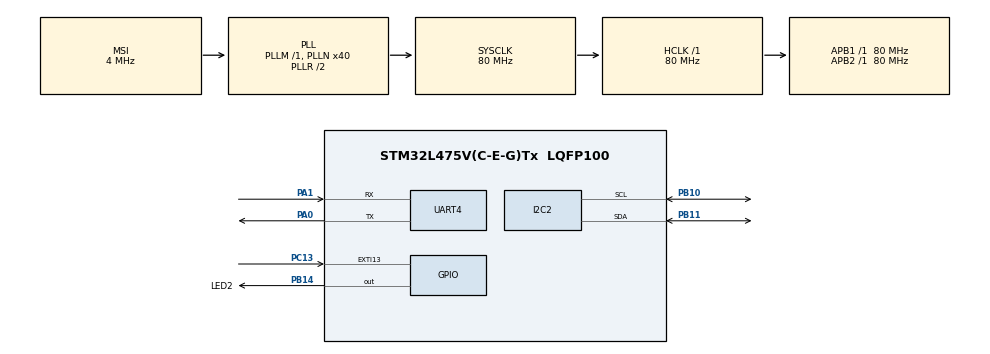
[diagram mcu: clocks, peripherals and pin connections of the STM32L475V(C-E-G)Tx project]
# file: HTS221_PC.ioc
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I2C2.Timing=0x10909CEC
Mcu.Family=STM32L4
Mcu.Name=STM32L475V(C-E-G)Tx
Mcu.Package=LQFP100
NVIC.EXTI15_10_IRQn=true\:0\:0\:false\:false\:true\:true\:true
NVIC.PriorityGroup=NVIC_PRIORITYGROUP_4
NVIC.UART4_IRQn=true\:0\:0\:false\:false\:true\:true\:true
PA0.Mode=Asynchronous
PA0.Signal=UART4_TX
PA1.Mode=Asynchronous
PA1.Signal=UART4_RX
PA13\ (JTMS-SWDIO).Mode=Serial_Wire
PA13\ (JTMS-SWDIO).Signal=SYS_JTMS-SWDIO
PA14\ (JTCK-SWCLK).Mode=Serial_Wire
PA14\ (JTCK-SWCLK).Signal=SYS_JTCK-SWCLK
PB10.Mode=I2C
PB10.Signal=I2C2_SCL
PB11.Mode=I2C
PB11.Signal=I2C2_SDA
PB14.GPIO_Label=LED2
PB14.Signal=GPIO_Output
PC13.Signal=GPXTI13
PC14-OSC32_IN\ (PC14).Mode=LSE-External-Oscillator
PC14-OSC32_IN\ (PC14).Signal=RCC_OSC32_IN
PC15-OSC32_OUT\ (PC15).Mode=LSE-External-Oscillator
PC15-OSC32_OUT\ (PC15).Signal=RCC_OSC32_OUT
ProjectManager.HeapSize=0x200
ProjectManager.StackSize=0x400
ProjectManager.TargetToolchain=STM32CubeIDE
RCC.ADCFreq_Value=48000000
RCC.AHBFreq_Value=80000000
RCC.APB1Freq_Value=80000000
RCC.APB1TimFreq_Value=80000000
RCC.APB2Freq_Value=80000000
RCC.APB2TimFreq_Value=80000000
RCC.CortexFreq_Value=80000000
RCC.HCLKFreq_Value=80000000
RCC.HSE_VALUE=8000000
RCC.HSI_VALUE=16000000
RCC.MSI_VALUE=4000000
RCC.PLLN=40
RCC.PLLSAI1N=24
RCC.SYSCLKFreq_VALUE=80000000
RCC.SYSCLKSource=RCC_SYSCLKSOURCE_PLLCLK
RCC.USBFreq_Value=48000000
RCC.VCOOutputFreq_Value=160000000
VP_RTC_VS_RTC_Activate.Mode=RTC_Enabled
board=B-L475E-IOT01A1

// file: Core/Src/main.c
/* USER CODE BEGIN Header */
/**
  ******************************************************************************
  * @file           : main.c
  * @brief          : Main program body
  ******************************************************************************
  * @attention
  *
  * Copyright (c) 2022 STMicroelectronics.
  * All rights reserved.
  *
  * This software is licensed under terms that can be found in the LICENSE file
  * in the root directory of this software component.
  * If no LICENSE file comes with this software, it is provided AS-IS.
  *
  ******************************************************************************
  */
/* USER CODE END Header */
#include "main.h"

/* USER CODE BEGIN Includes */
#include "HTS221.h"
#include "stdio.h"
#include "string.h"
#include "lcd1602_i2c_lib.h"
#include "modbus.h"
#include "modbus_slave.h"
#include "modbus_slave_0x10.h"
#include "modbus_slave_0x03.h"
#include "modbus_slave_map.h"
#include "usart0.h"

/* USER CODE END Includes */

/* USER CODE BEGIN PTD */
hts221_t HTS221;
/* USER CODE END PTD */

I2C_HandleTypeDef hi2c2;

RTC_HandleTypeDef hrtc;

/* USER CODE BEGIN PV */
extern volatile bool usart0_modbus_timeout;
int16_t temp;
uint16_t humidity;
uint8_t flag_HTS221 = 0;
uint8_t flag_rxTerminal = 0;
char txBuffer [50] = {0};
char rxBuffer [1] = {0};
/* USER CODE END PV */

void SystemClock_Config(void);
static void MX_GPIO_Init(void);
static void MX_I2C2_Init(void);
static void MX_RTC_Init(void);
static void MX_UART4_Init(void);

int main(void)
{

  /* MCU Configuration--------------------------------------------------------*/

  /* Reset of all peripherals, Initializes the Flash interface and the Systick. */
  HAL_Init();

  /* Configure the system clock */
  SystemClock_Config();

  /* Initialize all configured peripherals */
  MX_GPIO_Init();
  MX_I2C2_Init();
  MX_RTC_Init();
  MX_UART4_Init();
  /* USER CODE BEGIN 2 */
  HTS221_Init(&HTS221, &hi2c2, DEV_ADDR);
  HTS221_DRDY_Enable(&HTS221, OPEN_DRAIN, ACTIVE_LOW);
  HTS221_set_output_data_rate(&HTS221, Hz_1);
 // HTS221_get_data_OneHot(&HTS221, &temp, &humidity);
  HAL_UART_Receive_IT(&huart4, (uint8_t*)rxBuffer, 1);
  /* USER CODE END 2 */

  /* Infinite loop */
  /* USER CODE BEGIN WHILE */
  while (1)
  {

	  if(flag_HTS221 == 1)
	   {
		  HTS221_get_data(&HTS221, &temp, &humidity);
          sprintf(txBuffer, "Temperature: %d C\n Humidity: %d\%%\n", temp, humidity);
		  HAL_UART_Transmit(&huart4, (uint8_t*)txBuffer, strlen(txBuffer), 1000);
		  flag_HTS221 = 0;
	   }
	  if(flag_rxTerminal == 1)
	  {
		  HAL_GPIO_TogglePin(LED2_GPIO_Port, LED2_Pin);
		  HTS221_get_data(&HTS221, &temp, &humidity);
		  sprintf(txBuffer, "Temperature: %d C\n Humidity: %d\%%\n", temp, humidity);
		  HAL_UART_Transmit(&huart4, (uint8_t*)txBuffer, strlen(txBuffer), 1000);
		  flag_rxTerminal = 0;
		  HAL_UART_Receive_IT(&huart4, (uint8_t*)rxBuffer, 1);
	  }
    /* USER CODE END WHILE */

  }
}

void SystemClock_Config(void)
{
  RCC_OscInitTypeDef RCC_OscInitStruct = {0};
  RCC_ClkInitTypeDef RCC_ClkInitStruct = {0};

  /** Configure the main internal regulator output voltage
  */
  if (HAL_PWREx_ControlVoltageScaling(PWR_REGULATOR_VOLTAGE_SCALE1) != HAL_OK)
  {
    Error_Handler();
  }
  /** Configure LSE Drive Capability
  */
  HAL_PWR_EnableBkUpAccess();
  __HAL_RCC_LSEDRIVE_CONFIG(RCC_LSEDRIVE_LOW);
  /** Initializes the RCC Oscillators according to the specified parameters
  * in the RCC_OscInitTypeDef structure.
  */
  RCC_OscInitStruct.OscillatorType = RCC_OSCILLATORTYPE_LSI|RCC_OSCILLATORTYPE_LSE
                              |RCC_OSCILLATORTYPE_MSI;
  RCC_OscInitStruct.LSEState = RCC_LSE_ON;
  RCC_OscInitStruct.LSIState = RCC_LSI_ON;
  RCC_OscInitStruct.MSIState = RCC_MSI_ON;
  RCC_OscInitStruct.MSICalibrationValue = 0;
  RCC_OscInitStruct.MSIClockRange = RCC_MSIRANGE_6;
  RCC_OscInitStruct.PLL.PLLState = RCC_PLL_ON;
  RCC_OscInitStruct.PLL.PLLSource = RCC_PLLSOURCE_MSI;
  RCC_OscInitStruct.PLL.PLLM = 1;
  RCC_OscInitStruct.PLL.PLLN = 40;
  RCC_OscInitStruct.PLL.PLLP = RCC_PLLP_DIV7;
  RCC_OscInitStruct.PLL.PLLQ = RCC_PLLQ_DIV2;
  RCC_OscInitStruct.PLL.PLLR = RCC_PLLR_DIV2;
  if (HAL_RCC_OscConfig(&RCC_OscInitStruct) != HAL_OK)
  {
    Error_Handler();
  }
  /** Initializes the CPU, AHB and APB buses clocks
  */
  RCC_ClkInitStruct.ClockType = RCC_CLOCKTYPE_HCLK|RCC_CLOCKTYPE_SYSCLK
                              |RCC_CLOCKTYPE_PCLK1|RCC_CLOCKTYPE_PCLK2;
  RCC_ClkInitStruct.SYSCLKSource = RCC_SYSCLKSOURCE_PLLCLK;
  RCC_ClkInitStruct.AHBCLKDivider = RCC_SYSCLK_DIV1;
  RCC_ClkInitStruct.APB1CLKDivider = RCC_HCLK_DIV1;
  RCC_ClkInitStruct.APB2CLKDivider = RCC_HCLK_DIV1;

  if (HAL_RCC_ClockConfig(&RCC_ClkInitStruct, FLASH_LATENCY_4) != HAL_OK)
  {
    Error_Handler();
  }
  /** Enable MSI Auto calibration
  */
  HAL_RCCEx_EnableMSIPLLMode();
}

static void MX_I2C2_Init(void)
{

  hi2c2.Instance = I2C2;
  hi2c2.Init.Timing = 0x10909CEC;
  hi2c2.Init.OwnAddress1 = 0;
  hi2c2.Init.AddressingMode = I2C_ADDRESSINGMODE_7BIT;
  hi2c2.Init.DualAddressMode = I2C_DUALADDRESS_DISABLE;
  hi2c2.Init.OwnAddress2 = 0;
  hi2c2.Init.OwnAddress2Masks = I2C_OA2_NOMASK;
  hi2c2.Init.GeneralCallMode = I2C_GENERALCALL_DISABLE;
  hi2c2.Init.NoStretchMode = I2C_NOSTRETCH_DISABLE;
  if (HAL_I2C_Init(&hi2c2) != HAL_OK)
  {
    Error_Handler();
  }
  /** Configure Analogue filter
  */
  if (HAL_I2CEx_ConfigAnalogFilter(&hi2c2, I2C_ANALOGFILTER_ENABLE) != HAL_OK)
  {
    Error_Handler();
  }
  /** Configure Digital filter
  */
  if (HAL_I2CEx_ConfigDigitalFilter(&hi2c2, 0) != HAL_OK)
  {
    Error_Handler();
  }

}

static void MX_RTC_Init(void)
{

  /** Initialize RTC Only
  */
  hrtc.Instance = RTC;
  hrtc.Init.HourFormat = RTC_HOURFORMAT_24;
  hrtc.Init.AsynchPrediv = 127;
  hrtc.Init.SynchPrediv = 255;
  hrtc.Init.OutPut = RTC_OUTPUT_DISABLE;
  hrtc.Init.OutPutRemap = RTC_OUTPUT_REMAP_NONE;
  hrtc.Init.OutPutPolarity = RTC_OUTPUT_POLARITY_HIGH;
  hrtc.Init.OutPutType = RTC_OUTPUT_TYPE_OPENDRAIN;
  if (HAL_RTC_Init(&hrtc) != HAL_OK)
  {
    Error_Handler();
  }

}

static void MX_UART4_Init(void)
{

  LL_USART_InitTypeDef UART_InitStruct = {0};

  LL_GPIO_InitTypeDef GPIO_InitStruct = {0};
  RCC_PeriphCLKInitTypeDef PeriphClkInit = {0};

  /** Initializes the peripherals clock
  */
  PeriphClkInit.PeriphClockSelection = RCC_PERIPHCLK_UART4;
  PeriphClkInit.Uart4ClockSelection = RCC_UART4CLKSOURCE_PCLK1;
  if (HAL_RCCEx_PeriphCLKConfig(&PeriphClkInit) != HAL_OK)
  {
    Error_Handler();
  }

  /* Peripheral clock enable */
  LL_APB1_GRP1_EnableClock(LL_APB1_GRP1_PERIPH_UART4);

  LL_AHB2_GRP1_EnableClock(LL_AHB2_GRP1_PERIPH_GPIOA);
  /**UART4 GPIO Configuration
  PA0   ------> UART4_TX
  PA1   ------> UART4_RX
  */
  GPIO_InitStruct.Pin = LL_GPIO_PIN_0|LL_GPIO_PIN_1;
  GPIO_InitStruct.Mode = LL_GPIO_MODE_ALTERNATE;
  GPIO_InitStruct.Speed = LL_GPIO_SPEED_FREQ_VERY_HIGH;
  GPIO_InitStruct.OutputType = LL_GPIO_OUTPUT_PUSHPULL;
  GPIO_InitStruct.Pull = LL_GPIO_PULL_NO;
  GPIO_InitStruct.Alternate = LL_GPIO_AF_8;
  LL_GPIO_Init(GPIOA, &GPIO_InitStruct);

  /* UART4 interrupt Init */
  NVIC_SetPriority(UART4_IRQn, NVIC_EncodePriority(NVIC_GetPriorityGrouping(),0, 0));
  NVIC_EnableIRQ(UART4_IRQn);

  UART_InitStruct.BaudRate = 115200;
  UART_InitStruct.DataWidth = LL_USART_DATAWIDTH_8B;
  UART_InitStruct.StopBits = LL_USART_STOPBITS_1;
  UART_InitStruct.Parity = LL_USART_PARITY_NONE;
  UART_InitStruct.TransferDirection = LL_USART_DIRECTION_TX_RX;
  UART_InitStruct.HardwareFlowControl = LL_USART_HWCONTROL_NONE;
  UART_InitStruct.OverSampling = LL_USART_OVERSAMPLING_16;
  LL_USART_Init(UART4, &UART_InitStruct);
  LL_USART_ConfigAsyncMode(UART4);
  LL_USART_Enable(UART4);

}

static void MX_GPIO_Init(void)
{
  GPIO_InitTypeDef GPIO_InitStruct = {0};

  /* GPIO Ports Clock Enable */
  __HAL_RCC_GPIOC_CLK_ENABLE();
  __HAL_RCC_GPIOA_CLK_ENABLE();
  __HAL_RCC_GPIOB_CLK_ENABLE();

  /*Configure GPIO pin Output Level */
  HAL_GPIO_WritePin(LED2_GPIO_Port, LED2_Pin, GPIO_PIN_RESET);

  /*Configure GPIO pin : PC13 */
  GPIO_InitStruct.Pin = GPIO_PIN_13;
  GPIO_InitStruct.Mode = GPIO_MODE_IT_RISING;
  GPIO_InitStruct.Pull = GPIO_NOPULL;
  HAL_GPIO_Init(GPIOC, &GPIO_InitStruct);

  /*Configure GPIO pin : LED2_Pin */
  GPIO_InitStruct.Pin = LED2_Pin;
  GPIO_InitStruct.Mode = GPIO_MODE_OUTPUT_PP;
  GPIO_InitStruct.Pull = GPIO_NOPULL;
  GPIO_InitStruct.Speed = GPIO_SPEED_FREQ_LOW;
  HAL_GPIO_Init(LED2_GPIO_Port, &GPIO_InitStruct);

  /* EXTI interrupt init*/
  HAL_NVIC_SetPriority(EXTI15_10_IRQn, 0, 0);
  HAL_NVIC_EnableIRQ(EXTI15_10_IRQn);

}

/* USER CODE BEGIN 4 */
  void HAL_GPIO_EXTI_Callback(uint16_t GPIO_Pin)
{
	if (GPIO_Pin == GPIO_PIN_13)
	 {
		flag_HTS221 = 1;
	 }
}

  void HAL_UART_RxCpltCallback(UART_HandleTypeDef *huart)
  {
	 if(huart == &huart4)
	 {
	    if(rxBuffer[0] == '1')
	    {
	       flag_rxTerminal = 1;
	    }
	    else HAL_UART_Receive_IT(&huart4, (uint8_t*)rxBuffer, 1);
	 }
  }
/* USER CODE END 4 */

void Error_Handler(void)
{
  __disable_irq();
  while (1)
  {
  }
}
